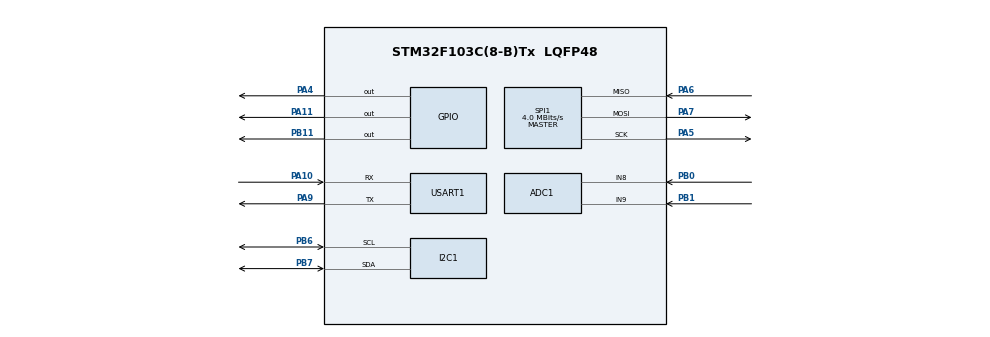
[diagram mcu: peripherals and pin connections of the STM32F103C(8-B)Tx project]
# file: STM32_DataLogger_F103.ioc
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ADC1.Channel-2\#ChannelRegularConversion=ADC_CHANNEL_8
ADC1.Channel-3\#ChannelRegularConversion=ADC_CHANNEL_9
ADC1.ContinuousConvMode=DISABLE
ADC1.ExternalTrigConv=ADC_EXTERNALTRIGCONV_T3_TRGO
ADC1.NbrOfConversion=2
ADC1.NbrOfConversionFlag=1
ADC1.Rank-2\#ChannelRegularConversion=1
ADC1.Rank-3\#ChannelRegularConversion=2
ADC1.SamplingTime-2\#ChannelRegularConversion=ADC_SAMPLETIME_7CYCLES_5
ADC1.SamplingTime-3\#ChannelRegularConversion=ADC_SAMPLETIME_7CYCLES_5
ADC1.master=1
Dma.ADC1.0.Direction=DMA_PERIPH_TO_MEMORY
Dma.ADC1.0.Instance=DMA1_Channel1
Dma.ADC1.0.MemDataAlignment=DMA_MDATAALIGN_HALFWORD
Dma.ADC1.0.MemInc=DMA_MINC_ENABLE
Dma.ADC1.0.Mode=DMA_CIRCULAR
Dma.ADC1.0.PeriphDataAlignment=DMA_PDATAALIGN_HALFWORD
Dma.ADC1.0.PeriphInc=DMA_PINC_DISABLE
Dma.ADC1.0.Priority=DMA_PRIORITY_LOW
Dma.Request0=ADC1
I2C1.I2C_Mode=I2C_Fast
Mcu.Family=STM32F1
Mcu.Name=STM32F103C(8-B)Tx
Mcu.Package=LQFP48
NVIC.DMA1_Channel1_IRQn=true\:0\:0\:false\:false\:true\:false\:true\:true
NVIC.PriorityGroup=NVIC_PRIORITYGROUP_4
NVIC.TIM2_IRQn=true\:2\:0\:true\:false\:true\:true\:true\:true
NVIC.USART1_IRQn=true\:2\:0\:true\:false\:true\:true\:true\:true
PA10.Mode=Asynchronous
PA10.Signal=USART1_RX
PA11.PinState=GPIO_PIN_RESET
PA11.Signal=GPIO_Output
PA13.Mode=Serial_Wire
PA13.Signal=SYS_JTMS-SWDIO
PA14.Mode=Serial_Wire
PA14.Signal=SYS_JTCK-SWCLK
PA4.GPIO_ModeDefaultOutputPP=GPIO_MODE_OUTPUT_PP
PA4.PinState=GPIO_PIN_SET
PA4.Signal=GPIO_Output
PA5.Mode=Full_Duplex_Master
PA5.Signal=SPI1_SCK
PA6.Mode=Full_Duplex_Master
PA6.Signal=SPI1_MISO
PA7.Mode=Full_Duplex_Master
PA7.Signal=SPI1_MOSI
PA9.Mode=Asynchronous
PA9.Signal=USART1_TX
PB0.Signal=ADCx_IN8
PB1.Signal=ADCx_IN9
PB11.GPIO_ModeDefaultOutputPP=GPIO_MODE_OUTPUT_PP
PB11.PinState=GPIO_PIN_SET
PB11.Signal=GPIO_Output
PB6.Mode=I2C
PB6.Signal=I2C1_SCL
PB7.Mode=I2C
PB7.Signal=I2C1_SDA
ProjectManager.HeapSize=0x200
ProjectManager.StackSize=0x400
ProjectManager.TargetToolchain=MDK-ARM V5.32
RCC.APB1Freq_Value=8000000
RCC.APB2Freq_Value=8000000
SH.ADCx_IN8.0=ADC1_IN8,IN8
SH.ADCx_IN9.0=ADC1_IN9,IN9
SPI1.BaudRatePrescaler=SPI_BAUDRATEPRESCALER_2
SPI1.CalculateBaudRate=4.0 MBits/s
SPI1.Direction=SPI_DIRECTION_2LINES
SPI1.Mode=SPI_MODE_MASTER
SPI1.VirtualType=VM_MASTER
TIM2.Period=1749
TIM2.Prescaler=7
TIM3.Period=9999
TIM3.Prescaler=7
TIM3.TIM_MasterOutputTrigger=TIM_TRGO_UPDATE
USART1.VirtualMode=VM_ASYNC
VP_TIM2_VS_ClockSourceINT.Mode=Internal
VP_TIM3_VS_ClockSourceINT.Mode=Internal
board=custom

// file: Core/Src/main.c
/* USER CODE BEGIN Header */
/**
  ******************************************************************************
  * @file           : main.c
  * @brief          : Main program body
  ******************************************************************************
  * @attention
  *
  * Copyright (c) 2026 STMicroelectronics.
  * All rights reserved.
  *
  * This software is licensed under terms that can be found in the LICENSE file
  * in the root directory of this software component.
  * If no LICENSE file comes with this software, it is provided AS-IS.
  *
  ******************************************************************************
  */
/* USER CODE END Header */
#include "main.h"
#include "adc.h"
#include "dma.h"
#include "i2c.h"
#include "spi.h"
#include "tim.h"
#include "usart.h"
#include "gpio.h"

/* USER CODE BEGIN Includes */
#include "OLED.h"
#include "W25Q32.h"
#include "SHT30.h"
#include "AnalogInput.h"
#include "DataLogger.h"
#include "TempAlarm.h"
#include "RingBuffer.h"
#include "ModbusCRC.h"
#include "DeviceConfig.h"
#include "ModbusSlave.h"
#include "ModbusRegisters.h"
#include "ConfigStore.h"

/* USER CODE END Includes */

/* USER CODE BEGIN PV */

DataLogger_Record_t writeRecord ={0};        //整理本次准备写入 Flash 的日志数据

HAL_StatusTypeDef initStatus = HAL_BUSY;     //判断日志模块初始化是否成功
HAL_StatusTypeDef adcStartStatus = HAL_BUSY; //判断 ADC 启动是否成功
HAL_StatusTypeDef adcStatus = HAL_BUSY;      //判断 ADC 数据能否用于本次发布和记录
TempAlarm_State_t tempAlarmState = TEMP_ALARM_STATE_NORMAL;//决定报警状态位、OLED 的 ALM 和蜂鸣器输出
uint8_t rxByte =0;          //HAL 单字节接收的存放位置
uint8_t frameBuffer[256];   //保存正在拼接的帧,不包含结束标记
uint16_t frameLength = 0;   //帧长度
uint8_t frameDiscard = 0;   //决定当前帧是否继续处理
volatile uint8_t rxFrameResetRequest=0U;     //通知主循环清掉正在拼接的旧帧
volatile uint8_t rxDiscardUntilGap=0U;       //决定是否丢弃字节，等待帧间隔
volatile uint8_t uartRxRestartRequest=0U;    //通知主循环重试开启接收
uint8_t modbusTxBuff[256];                   //保存准备发送的应答
HAL_StatusTypeDef modbusTxStatus=HAL_OK;     //判断发送成功还是失败，更新对应计数
HAL_StatusTypeDef configLoadStatus=HAL_BUSY; //判断配置加载是否成功

HAL_StatusTypeDef logStatus = HAL_BUSY;                       //保存最近一次追加日志的返回结果，后面没有根据它进行判断
DataLogger_State_t loggerState = DATA_LOGGER_STATE_NOT_READY; //保存日志模块状态的副本，主要用于 Watch 观察
HAL_StatusTypeDef formatStatus=HAL_BUSY;                      //保存清空日志的返回结果，后面没有根据它进行判断

volatile uint32_t rxCount = 0;       //接收字节数量
uint32_t popCount=0;                 //成功从队列取出字节个数
volatile uint32_t rxDropCount=0;     //软件主动丢弃、没有入队的字节数
volatile uint32_t rxFrameEndCount=0; // 接收结束通知次数
uint32_t frameLengthErrorCount = 0;  //帧长度异常次数

/* 调试统计 */
volatile uint32_t uartErrorCount=0U;         //串口错误计数
volatile uint32_t uartRxRestartFailCount=0U; //串口重启失败
volatile uint32_t rxQueueOverFlowCount=0U;   //队列溢出计数
volatile uint32_t rxResyncCount=0U;          //重新同步

uint32_t crcPassCount = 0;  //CRC校验成功数量
uint32_t crcFailCount = 0;  //CRC校验失败数量

uint32_t modbusTxCount=0U;
uint32_t modbusTxErrorCount=0U;

volatile uint32_t uartLastError=HAL_UART_ERROR_NONE; //最近一次 UART 错误码，供调试观察，恢复后仍保留
volatile uint8_t clearLogRequest=0U;//主动清空请求：置 1 后执行一次

HAL_StatusTypeDef flashIdStatus=HAL_BUSY;
uint8_t flashManufacturerID=0U; //厂家ID
uint16_t flashDeviceID=0U;      //设备ID
uint8_t storageFault=1U;        // 初始化成功后才清零
uint32_t storageErrorCount=0U;  // 存储故障计数

volatile uint32_t logDropCount=0U;//记录丢弃

HAL_StatusTypeDef sht30InitStatus=HAL_BUSY;
HAL_StatusTypeDef sht30Status=HAL_BUSY;

uint8_t sht30Fault=1U;        // 取得有效数据后才清零
uint8_t sht30NeedInit=1U;     // 是否需要重新初始化
uint8_t sht30NoDataCount=0U;  // 连续没有新数据的次数

uint32_t sht30ErrorCount=0;   // 确认异常、初始化失败的累计次数
uint32_t sht30RetryCount=0U;  // 重试初始化次数，不包含开机那次

/* USER CODE END PV */

void SystemClock_Config(void);

/* USER CODE BEGIN 0 */

static void Modbus_RestartGapTimer(void)//重新开始帧间隔计时。
{
	HAL_TIM_Base_Stop_IT(&htim2);

	__HAL_TIM_SET_COUNTER(&htim2,0U); //设置计数单元
	__HAL_TIM_CLEAR_FLAG(&htim2,TIM_FLAG_UPDATE);//清除溢出标志位

	if(HAL_TIM_Base_Start_IT(&htim2)!=HAL_OK)//打开定时器2以及中断
	{
		Error_Handler();
	}
}

static void Modbus_ResetRxFrame(uint8_t waitForGap)//清空接收队列，通知主循环放弃旧帧。
{
	RingBuffer_Init();//初始化接收队列

	rxFrameResetRequest=1U;        //帧重新设置请求
	rxDiscardUntilGap=waitForGap;  // 设置“丢弃数据，直到出现帧间隔”的标志

	rxResyncCount++;               // 重新同步的次数加1
}

static void Modbus_ArmRx(void)//开启单字节接收，失败时留下重试请求。
{
	if(HAL_UART_Receive_IT(&huart1,&rxByte,1U)==HAL_OK)
	{
		uartRxRestartRequest=0U;//将重启请求标志位恢复
	}
	else
	{
		uartRxRestartFailCount++;//重启失败次数增加
		uartRxRestartRequest=1U;

		Modbus_ResetRxFrame(1U);
		Modbus_RestartGapTimer();
	}
}

static void Modbus_ProcessRxRestart(void)//主循环处理接收重启请求。
{
	uint32_t irqState;

	if(uartRxRestartRequest==0U)
	{
		return;
	}

	irqState=__get_PRIMASK();//获取中断状态
	__disable_irq();         //暂停中断

	if(uartRxRestartRequest!=0)
	{
		if(huart1.RxState==HAL_UART_STATE_READY)
		{
			__HAL_UART_CLEAR_OREFLAG(&huart1);//清除 USART1 的接收溢出错误标志

			Modbus_ResetRxFrame(1U);
			Modbus_RestartGapTimer();
			Modbus_ArmRx();
		}
		else if(huart1.RxState==HAL_UART_STATE_BUSY_RX)
		{
			/* 已经在等待接收，不需要重复开启 */
			uartRxRestartRequest=0U;
		}
	}

	__set_PRIMASK(irqState);
}

static HAL_StatusTypeDef SHT30_ReadWithRecovery(float *temperature,float *humidity)//带恢复机制的读取
{
	HAL_StatusTypeDef status;

	/* 需要初始化：本轮只尝试初始化 */
	if(sht30NeedInit!=0U)
	{
		sht30RetryCount++;

		sht30InitStatus=SHT30_Init();
		if(sht30InitStatus==HAL_OK)
		{
			sht30NeedInit=0U;
			sht30NoDataCount=0U;

			/* 已启动测量，下一秒再读取 */
			return HAL_BUSY;
		}

		sht30Fault=1U;
		sht30ErrorCount++;

		return HAL_ERROR;
	}

	/* 已启动测量：尝试读取并校验 */
	status=SHT30_Convert(temperature,humidity);
	if(status==HAL_OK)
	{
		sht30Fault=0U;
		sht30NoDataCount=0U;

		return HAL_OK;
	}

	if(status==HAL_BUSY)
	{
		sht30NoDataCount++;

		/* 第一次没有新数据，先等待下一秒 */
		if(sht30NoDataCount<2U)
		{
			return HAL_BUSY;
		}

		/* 连续两次没有数据，转入异常恢复 */
		status=HAL_ERROR;
	}

	/* 通信、CRC 或持续无数据异常 */
	sht30Fault=1U;
	sht30ErrorCount++;
	sht30NeedInit=1U;

	return status;
}

/* USER CODE END 0 */

int main(void)
{

  /* MCU Configuration--------------------------------------------------------*/

  /* Reset of all peripherals, Initializes the Flash interface and the Systick. */
  HAL_Init();

  /* Configure the system clock */
  SystemClock_Config();

  /* Initialize all configured peripherals */
  MX_GPIO_Init();
  MX_DMA_Init();
  MX_I2C1_Init();
  MX_SPI1_Init();
  MX_ADC1_Init();
  MX_TIM3_Init();
  MX_USART1_UART_Init();
  MX_TIM2_Init();
  /* USER CODE BEGIN 2 */

  OLED_Init();

  sht30InitStatus=SHT30_Init();
  {
	  if(sht30InitStatus==HAL_OK)
	  {
		  sht30NeedInit=0U;
	  }
	  else
	  {
		  sht30Status=HAL_ERROR;
		  sht30ErrorCount++;
	  }
  }

  W25Q32_Init();

  DeviceConfig_Init();//先建立默认配置

  storageFault=1U;
  flashIdStatus=W25Q32_ReadID(&flashManufacturerID,&flashDeviceID);
  if(flashIdStatus==HAL_OK && flashManufacturerID==0xEFU && flashDeviceID==0x4016U)
  {
	  /* 芯片识别正确，再读取配置 */
	  configLoadStatus=ConfigStore_Init();
	  if(configLoadStatus==HAL_OK)
	  {
		  /* 配置读取流程完成，再恢复日志 */
		  initStatus=DataLogger_Init();
		  if(initStatus==HAL_OK)
		  {
			   storageFault=0U;
		  }
	  }
  }
  if(storageFault!=0U)
  {
	  storageErrorCount++;
	  ConfigStore_StopOnFault();
  }

  ModbusRegisters_Init();
  TempAlarm_Init();
  RingBuffer_Init();

  OLED_ShowText(1,1,"Temp:     ℃");
  OLED_ShowText(2,1,"RH:     ％");
  OLED_ShowText(3,1,"V1:    V");
  OLED_ShowText(4,1,"V2:    V");

  HAL_GPIO_WritePin(GPIOA,GPIO_PIN_11,GPIO_PIN_RESET);    //拉低MAX3485EN引脚切换到接收状态
  __HAL_UART_CLEAR_OREFLAG(&huart1);                      //清除 USART1 的接收溢出标志 ORE。
  if (HAL_UART_Receive_IT(&huart1, &rxByte, 1) != HAL_OK) //先手动打开一次中断接收函数
  {
      Error_Handler();
  }

  /* USER CODE END 2 */

  /* Infinite loop */
  /* USER CODE BEGIN WHILE */

  float temperature = 0.0f;
  float humidity = 0.0f;
  float Voltage1,Voltage2;

  uint32_t last_tick = HAL_GetTick();      // 获取数据采集起始时间
  uint32_t lastDisplayTick=HAL_GetTick();  //获取OLED刷新起始时间

  const DeviceConfig_t *config=DeviceConfig_Get();//获取当前设备配置
  uint32_t lastLogTick=HAL_GetTick();//计时写入FLASH时间
  uint16_t activeLogIntervalSeconds=config->LogIntervalSeconds;//获取保存间隔

  ModbusInputData_t inputData={0}; //输入寄存器变量,用来整理本次采样结果，整理完成后交给寄存器模块。

  adcStartStatus=AnalogInput_Start(); //启动ADC
  if(adcStartStatus!=HAL_OK)
  {
	  Error_Handler();//当发生错误时，将执行此函数。
  }

  while (1)
  {
	  if(storageFault==0U && (DataLogger_GetState()==DATA_LOGGER_STATE_ERROR || ConfigStore_GetState()==CONFIG_STORE_ERROR))
	  {
		  storageFault=1U;
		  storageErrorCount++;
		  ConfigStore_StopOnFault();//将存储模块状态更改为错误
	  }

	  if(clearLogRequest!=0 && storageFault==0U && ConfigStore_IsBusy()==0U)
	  {
		  clearLogRequest=0;//清除标志位

		  formatStatus=DataLogger_Format();//按扇区格式化日志区
		  loggerState=DataLogger_GetState();//更新存储模块状态

		  last_tick = HAL_GetTick();//清空完成后重新开始采集计时
		  lastLogTick=last_tick;
	  }

	  uint32_t now = HAL_GetTick();

	  if(activeLogIntervalSeconds!=config->LogIntervalSeconds)
	  {
		  activeLogIntervalSeconds = config->LogIntervalSeconds;//获取新的保存间隔
          lastLogTick = now;
	  }

       if((uint32_t)(now-last_tick)>=1000U)
	   {
		   last_tick=now;

		   /* 每轮重新判断哪些数据有效 */
		   inputData.ValidMask=0U;
		   inputData.Status=0U;

		    /* 获取温湿度 */
		   sht30Status=SHT30_ReadWithRecovery(&temperature,&humidity);
		   if(sht30Status==HAL_OK)
		   {
			   inputData.TemperatureX100=(int16_t)(temperature*100.f+(temperature>=0.0f?+0.5f:-0.5f));
			   inputData.HumidityX100=(uint16_t)(humidity*100.f+0.5f);

			   inputData.ValidMask |=MODBUS_VALID_TEMPERATURE | MODBUS_VALID_HUMIDIY;

			   TempAlarm_Update(temperature);//根据温度更新警告标志位
			   tempAlarmState=TempAlarm_GetState();//获取最新温度警告标志位
		   }

		   /* 获取两路 ADC，与温湿度获取结果独立 */
		   adcStatus=AnalogInput_GetAverageRaw(&writeRecord.Analog1,&writeRecord.Analog2);
		   if(adcStatus==HAL_OK)
		   {
			   inputData.Analog1mV=(uint16_t)(((uint32_t)writeRecord.Analog1*3300U+2047)/4095U);
			   inputData.Analog2mV=(uint16_t)(((uint32_t)writeRecord.Analog2*3300U+2047)/4095U);

			   inputData.ValidMask |=MODBUS_VALID_ANALOG1 | MODBUS_VALID_ANALOG2;
		   }

		   /* 整理本次设备状态 */
		   if(sht30Status==HAL_OK && tempAlarmState==TEMP_ALARM_STATE_HIGH)
		   {
			   inputData.Status |=MODBUS_STATUS_ALARM;
		   }
		   if(storageFault==0U && DataLogger_GetState()==DATA_LOGGER_STATE_READY)
		   {
			   inputData.Status |=MODBUS_STATUS_LOG_READY;
		   }
		   if(storageFault!=0U)
		   {
			   inputData.Status |=MODBUS_STATUS_STORAGE_FAULT;
		   }
		   if(sht30Fault!=0)
		   {
			   inputData.Status |=MODBUS_STATUS_SENSOR_FAULT;
		   }

		   /* 先发布本次采样结果 */
		   ModbusRegisters_UpdateInput(&inputData);//将当前采集的数据更新到输入寄存器

		   if(sht30Status==HAL_OK && adcStatus==HAL_OK)
		   {
			   uint32_t logIntervalMs;//记录间隔

			   writeRecord.TimeMs=HAL_GetTick();//开机后运行时间
			   writeRecord.TemperatureX100=inputData.TemperatureX100;
			   writeRecord.HumidityX100=inputData.HumidityX100;

			   logIntervalMs=(uint32_t)activeLogIntervalSeconds*1000U;//将当前配置的保存间隔由s转换成ms
			   if((uint32_t)(now - lastLogTick)>=logIntervalMs && ConfigStore_IsBusy()==0U)//当前时间减去上次记录时间，判断是否达到设置的间隔
			   {
				   lastLogTick=now;
				   if(storageFault==0U && DataLogger_GetState()==DATA_LOGGER_STATE_READY)
				   {
					   logStatus=DataLogger_AppendRecord(&writeRecord);//将数据记录进FLASH
					   if(logStatus!=HAL_OK)
					   {
						   logDropCount++;

						   storageFault=1U;
						   storageErrorCount++;
						   ConfigStore_StopOnFault();
					   }
				   }
				   else
				   {
				       logDropCount++;
				   }
			   }
		   }
	   }

	   loggerState = DataLogger_GetState();//记录器状态

	       uint32_t displayNow =HAL_GetTick();

	       if((displayNow - lastDisplayTick)>=200U)
	       {
		       lastDisplayTick = displayNow;//重置初始时间

			   OLED_BeginUpdate();

		       if (sht30Status == HAL_OK)
               {
                   OLED_ShowFloat(1, 6, temperature, 5, 2);
                   OLED_ShowFloat(2, 4, humidity, 5, 2);
                   OLED_ShowString(2, 14, "   ");
               }
               else
               {
				   /* 覆盖旧数值，避免被当成当前有效数据 */
				   OLED_ShowString(1,6,"-----");
				   OLED_ShowString(2,4,"-----");

				   if(sht30Status==HAL_BUSY)
				   {
					   OLED_ShowString(2, 14, "---"); // 尚未就绪
				   }
                   else
				   {
					   OLED_ShowString(2, 14, "ERR"); // 读取失败，保留原来的数值
				   }
               }

		       if(AnalogInput_GetVoltage(&Voltage1,&Voltage2)==HAL_OK)//判断获取两路ADC电压值是否正常
	           {
		           OLED_ShowFloat(3,4,Voltage1,4,2);
                   OLED_ShowFloat(4,4,Voltage2,4,2);
	           }

			   if(storageFault!=0U)//判断日志是否异常
			   {
				   OLED_ShowString(3,13,"FERR");
			   }
			   else
			   {
				   OLED_ShowString(3,13,"    ");
			   }

		       if(sht30Status==HAL_OK && tempAlarmState==TEMP_ALARM_STATE_HIGH)//判断温度警告状态位
		       {
			       OLED_ShowString(1, 14, "ALM");
			       HAL_GPIO_WritePin(GPIOB,GPIO_PIN_11,GPIO_PIN_RESET);
		       }
		       else
		       {
			        OLED_ShowString(1, 14, "   ");
			        HAL_GPIO_WritePin(GPIOB,GPIO_PIN_11,GPIO_PIN_SET);
		       }
	        }

		uint16_t rxBudget;
		Modbus_ProcessRxRestart();

		/* 每轮最多处理64个队列元素 */
		for(rxBudget=0U;rxBudget<64U;rxBudget++)
		{
			uint16_t Data;
			uint8_t popStatus;
			uint32_t irqState;

			irqState= __get_PRIMASK();//获取中断状态

			__disable_irq();//关闭中断

			if(rxFrameResetRequest!=0U)//检查是否需要放弃旧帧，重置拼帧状态,1时为需要
			{
				rxFrameResetRequest=0U;

				frameLength=0U;
				frameDiscard=0U;
			}

            popStatus=RingBuffer_Pop(&Data);//读取队列，获取一个元素
			__set_PRIMASK(irqState);//恢复原来的状态
			if(popStatus==0U)
			{
				break;
			}

			if(popStatus==1)//判断有没有读取成功
			{
				if(Data==RING_BUFFER_FRAME_END)//判断读到的是不是帧末尾
				{
					if(frameDiscard==0U)//判断是不是丢弃帧
					{
						if(frameLength<4U)//Modbus RTU 帧包括，从站地址 功能码  数据区 CRC校验(占两个字节)，最少4字节
						{
							frameLengthErrorCount++;// 长度异常次数
						}
						else if(Modbus_CheckCRC(frameBuffer,frameLength)==1U)//计算读取帧的CRC校验值
						{
							uint16_t responseLength;//应答帧长度
							crcPassCount++;	//校验通过

							responseLength=ModbusSlave_ProcessFrame(frameBuffer,frameLength,modbusTxBuff,sizeof(modbusTxBuff));//设置参数
							if(responseLength>0U)
							{
								HAL_GPIO_WritePin(GPIOA,GPIO_PIN_11,GPIO_PIN_SET);
								modbusTxStatus=HAL_UART_Transmit(&huart1,modbusTxBuff,responseLength,100U);//回复
								HAL_GPIO_WritePin(GPIOA,GPIO_PIN_11,GPIO_PIN_RESET);

								if(modbusTxStatus==HAL_OK)
								{
									modbusTxCount++;
								}
								else
								{
									modbusTxErrorCount++;
								}
							}
						}
						else
						{
							crcFailCount++;//校验不通过
						}
					}

					/* 准备下一帧 */
                    frameLength = 0U;
                    frameDiscard = 0U;
				 }
			     else
			     {
			     	popCount++;//读取数+1

			     	if(frameDiscard==0U)
					{
						if(frameLength<sizeof(frameBuffer))
						{
							frameBuffer[frameLength]=(uint8_t)Data;//将读到的字节放到到数组里拼成一帧
							frameLength++;
						}
						else
						{
							frameDiscard=1U;
							frameLengthErrorCount++;//错误长度+1
						}
					}
			     }
			 }
		 }

    /* USER CODE END WHILE */

    /* USER CODE BEGIN 3 */
	ConfigStore_Process();
  }
  /* USER CODE END 3 */
}

void SystemClock_Config(void)
{
  RCC_OscInitTypeDef RCC_OscInitStruct = {0};
  RCC_ClkInitTypeDef RCC_ClkInitStruct = {0};
  RCC_PeriphCLKInitTypeDef PeriphClkInit = {0};

  /** Initializes the RCC Oscillators according to the specified parameters
  * in the RCC_OscInitTypeDef structure.
  */
  RCC_OscInitStruct.OscillatorType = RCC_OSCILLATORTYPE_HSI;
  RCC_OscInitStruct.HSIState = RCC_HSI_ON;
  RCC_OscInitStruct.HSICalibrationValue = RCC_HSICALIBRATION_DEFAULT;
  RCC_OscInitStruct.PLL.PLLState = RCC_PLL_NONE;
  if (HAL_RCC_OscConfig(&RCC_OscInitStruct) != HAL_OK)
  {
    Error_Handler();
  }

  /** Initializes the CPU, AHB and APB buses clocks
  */
  RCC_ClkInitStruct.ClockType = RCC_CLOCKTYPE_HCLK|RCC_CLOCKTYPE_SYSCLK
                              |RCC_CLOCKTYPE_PCLK1|RCC_CLOCKTYPE_PCLK2;
  RCC_ClkInitStruct.SYSCLKSource = RCC_SYSCLKSOURCE_HSI;
  RCC_ClkInitStruct.AHBCLKDivider = RCC_SYSCLK_DIV1;
  RCC_ClkInitStruct.APB1CLKDivider = RCC_HCLK_DIV1;
  RCC_ClkInitStruct.APB2CLKDivider = RCC_HCLK_DIV1;

  if (HAL_RCC_ClockConfig(&RCC_ClkInitStruct, FLASH_LATENCY_0) != HAL_OK)
  {
    Error_Handler();
  }
  PeriphClkInit.PeriphClockSelection = RCC_PERIPHCLK_ADC;
  PeriphClkInit.AdcClockSelection = RCC_ADCPCLK2_DIV2;
  if (HAL_RCCEx_PeriphCLKConfig(&PeriphClkInit) != HAL_OK)
  {
    Error_Handler();
  }
}

/* USER CODE BEGIN 4 */

void HAL_UART_RxCpltCallback(UART_HandleTypeDef *huart)//串口接收中断回调函数
{
	if(huart!=&huart1)
	{
		return;
	}

	rxCount++;
	Modbus_RestartGapTimer();

	/*
    * 必须在重新开启接收之前记录错误。
    * HAL_UART_Receive_IT() 会清除 ErrorCode。
    */
	if(huart->ErrorCode!=HAL_UART_ERROR_NONE)
	{
		uartLastError=huart->ErrorCode;
		uartErrorCount++;

		rxDropCount++;
		Modbus_ResetRxFrame(1U);
	}
	else if(rxDiscardUntilGap!=0U)
	{
		/* 受损帧尚未结束，继续丢弃 */
		rxDropCount++;//记录软件主动丢弃、没有入队的字节。
	}
	else if(RingBuffer_Push(rxByte)==0)
	{
		rxDropCount++;
		rxQueueOverFlowCount++;

		Modbus_ResetRxFrame(1);
	}

	Modbus_ArmRx();

}

void HAL_UART_ErrorCallback(UART_HandleTypeDef *huart)
{
	if(huart!=&huart1 || huart->ErrorCode==HAL_UART_ERROR_NONE)
	{
		return;
	}

	uartLastError=huart->ErrorCode;//记录串口错误
	uartErrorCount++;//串口错误+1

	Modbus_ResetRxFrame(1U);
	Modbus_RestartGapTimer();
	__HAL_UART_CLEAR_OREFLAG(huart);

	 /*
     * 溢出错误可能使 HAL 停止接收。
     * 只有已经停止时，才重新开启。
     */
	if(huart->RxState==HAL_UART_STATE_READY)
	{
		Modbus_ArmRx();//开启单字节接收
	}
}

void HAL_TIM_PeriodElapsedCallback(TIM_HandleTypeDef *htim)//定时器定时中断回调函数,这里用来判断帧结束
{
	if(htim!=&htim2)
	{
		return;
	}

	HAL_TIM_Base_Stop_IT(&htim2);
	rxFrameEndCount++;//帧结束+1

	if(rxDiscardUntilGap!=0U)
	{
		/*
         * 已经等到受损帧结束。
         * 队列此前已经清空，下一帧可以正常接收。
         */
		rxDiscardUntilGap=0U;
		return;
	}

	if(RingBuffer_Push(RING_BUFFER_FRAME_END)==0U)
	{
		rxQueueOverFlowCount++;

		/*
         * 此时已经出现帧间隔，
         * 清空队列后可以直接接收下一帧。
         */
		Modbus_ResetRxFrame(0U);
	}
}

/* USER CODE END 4 */

void Error_Handler(void)
{
  __disable_irq();
  while (1)
  {
  }
}
